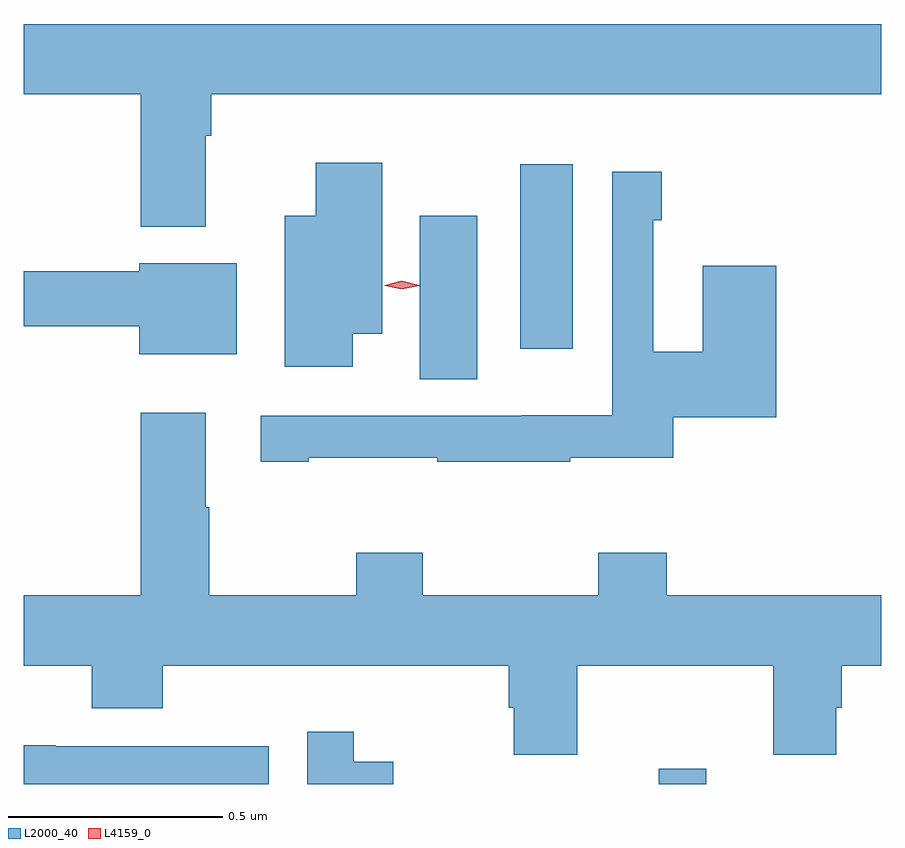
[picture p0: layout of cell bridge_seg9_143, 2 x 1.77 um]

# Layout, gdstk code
import gdstk
lib = gdstk.Library(unit=1e-6, precision=1e-09)
def R(c, l, rs):  # rectangles x0, y0, x1, y1
    for r in rs: c.add(gdstk.rectangle(r[:2], r[2:], *l))
def P(c, l, *ps):  # polygons
    for p in ps: c.add(gdstk.Polygon(p, *l))
L2000_40 = (2000, 40)
L4159_0 = (4159, 0)

bridge_seg9_143 = lib.new_cell('bridge_seg9_143')
R(bridge_seg9_143, L2000_40, [(587.485,1169.504,587.596,1169.539), (586.928,1170.448,587.062,1170.829), (587.162,1170.519,587.284,1170.949)])
P(bridge_seg9_143, L2000_40, [(586.429,1171.016),(586.442,1171.016),(586.442,1171.112),(588.004,1171.112),(588.004,1171.276),(586.004,1171.276),(586.004,1171.112),(586.277,1171.112),(586.277,1170.803),(586.429,1170.803)],
  [(586.771,1170.554),(586.84,1170.554),(586.84,1170.952),(586.685,1170.952),(586.685,1170.829),(586.613,1170.829),(586.613,1170.477),(586.771,1170.477)],
  [(586.669,1170.265),(586.969,1170.265),(586.969,1170.255),(587.279,1170.255),(587.279,1170.265),(587.519,1170.265),(587.519,1170.359),(587.759,1170.359),(587.759,1170.712),(587.588,1170.712),(587.588,1170.512),(587.472,1170.512),(587.472,1170.818),(587.492,1170.818),(587.492,1170.931),(587.376,1170.931),(587.376,1170.364),(587.166,1170.364),(587.166,1170.363),(586.557,1170.363),(586.557,1170.255),(586.669,1170.255)],
  [(586.501,1170.718),(586.274,1170.718),(586.274,1170.7),(586.004,1170.7),(586.004,1170.571),(586.274,1170.571),(586.274,1170.506),(586.501,1170.506)],
  [(587.295,1169.78),(587.752,1169.78),(587.752,1169.572),(587.899,1169.572),(587.899,1169.682),(587.912,1169.682),(587.912,1169.78),(588.004,1169.78),(588.004,1169.944),(587.504,1169.944),(587.504,1170.043),(587.344,1170.043),(587.344,1169.944),(586.935,1169.944),(586.935,1170.043),(586.78,1170.043),(586.78,1169.944),(586.437,1169.944),(586.437,1170.149),(586.429,1170.149),(586.429,1170.37),(586.277,1170.37),(586.277,1169.944),(586.004,1169.944),(586.004,1169.78),(586.163,1169.78),(586.163,1169.681),(586.328,1169.681),(586.328,1169.78),(587.135,1169.78),(587.135,1169.682),(587.147,1169.682),(587.147,1169.572),(587.295,1169.572)],
  [(586.866,1169.556),(586.774,1169.556),(586.774,1169.626),(586.665,1169.626),(586.665,1169.504),(586.866,1169.504)],
  [(586.575,1169.592),(586.079,1169.592),(586.079,1169.594),(586.004,1169.594),(586.004,1169.504),(586.575,1169.504)])
P(bridge_seg9_143, L4159_0, [(586.886,1170.657),(586.846,1170.666),(586.846,1170.667),(586.846,1170.667),(586.886,1170.677),(586.926,1170.667),(586.926,1170.667),(586.926,1170.666)])

lib.write_gds('bridge_seg9_143.gds')
